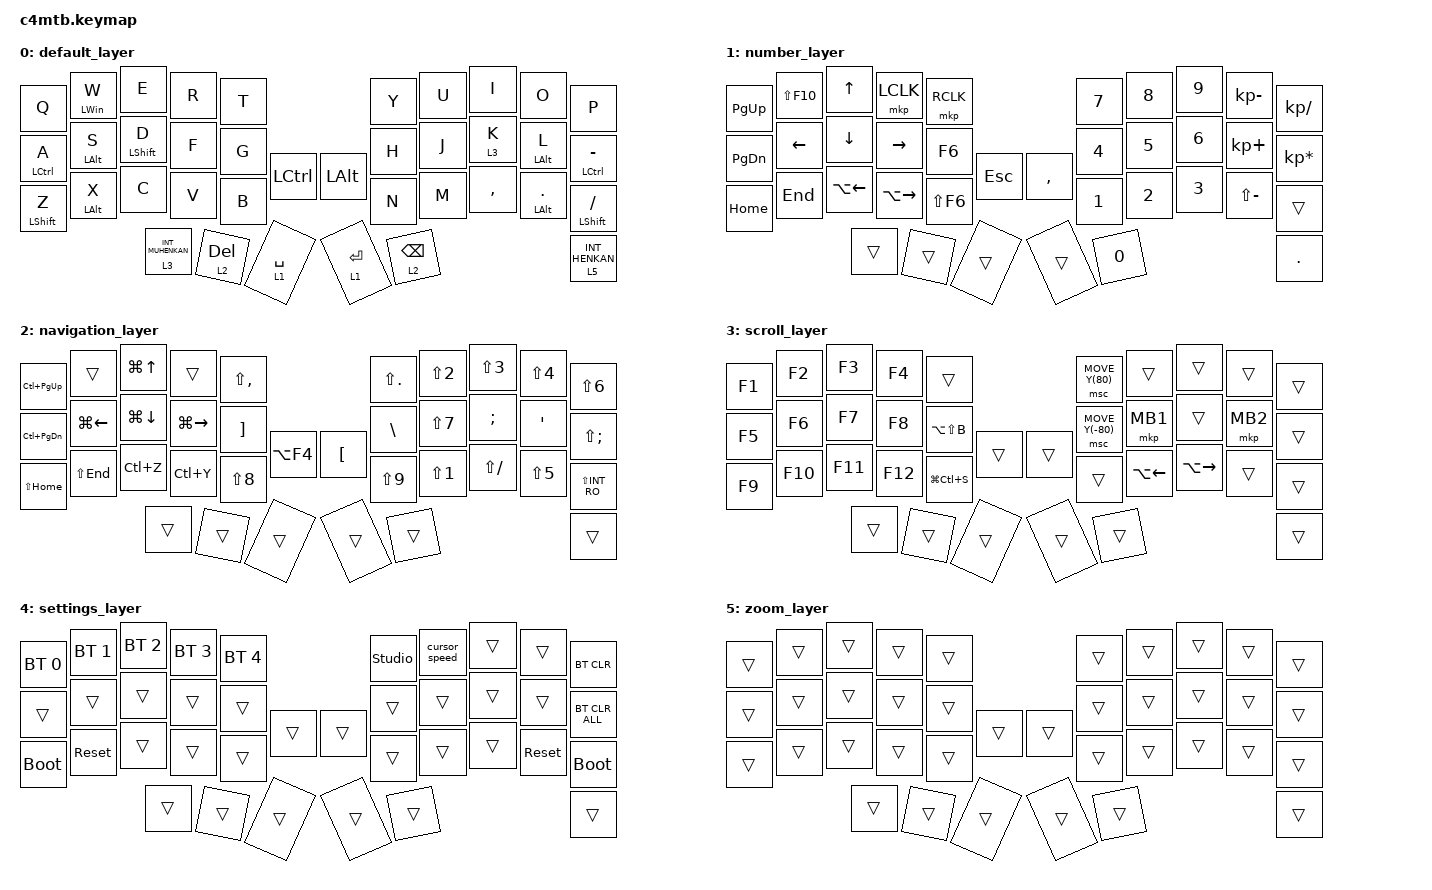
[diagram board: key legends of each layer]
#include <behaviors.dtsi>
#include <dt-bindings/zmk/bt.h>
#include <dt-bindings/zmk/keys.h>
#include <dt-bindings/zmk/pointing.h>

&mt {
    flavor = "tap-preferred";
    quick-tap-ms = <200>;
};

&lt { quick-tap-ms = <200>; };

/ {
    behaviors {
        cursor_speed: cursor_speed {
            compatible = "c4mtb,behavior-cursor-speed";
            display-name = "Cursor Speed";
            #binding-cells = <0>;
        };
    };

    macros {
        /*
         * ボールでズームするためのレイヤー。押している間だけ LCTRL を保持し、
         * 同時にレイヤー5へ入る。レイヤー5では c4mtb_r.overlay の zoomer が
         * ホイールのゲインを1/8へ落とすので、Ctrl+ホイールのズームが
         * 「球を約4mm転がして1段」になる。
         *
         * ZMKにはモディファイア保持とレイヤー保持を1つにする振る舞いがないので
         * マクロで束ねる。macro_pause_for_release があるため、押し下げで
         * &kp LCTRL と &mo 5 の両方が押され、キーを離すと両方が離れる。
         */

        zoom_ball: zoom_ball {
            compatible = "zmk,behavior-macro";
            #binding-cells = <0>;
            wait-ms = <0>;
            tap-ms = <0>;
            bindings =
                <&macro_press>,
                <&kp LCTRL &mo 5>,
                <&macro_pause_for_release>,
                <&macro_release>,
                <&kp LCTRL &mo 5>;
        };
    };

    /*
     * Combos stay in standard ZMK devicetree so Keymap Editor can parse,
     * display, and edit them without depending on DYA runtime-combo state.
     * Recovery controls and click chords therefore remain available even if
     * Studio settings are reset or Studio itself is unavailable.
     */

    combos {
        compatible = "zmk,combos";

        settings_layer {
            timeout-ms = <80>;
            key-positions = <33 34>;
            bindings = <&mo 4>;
        };

        left_click {
            key-positions = <16 17>;
            bindings = <&mkp LCLK>;
            timeout-ms = <90>;
        };

        right_click {
            key-positions = <17 18>;
            bindings = <&mkp RCLK>;
            timeout-ms = <90>;
        };
        tab_shift_combo {
            timeout-ms = <50>;
            key-positions = <13 14>;
            bindings = <&kp LS(TAB)>;
        };
        tab_combo {
            timeout-ms = <50>;
            key-positions = <3 4>;
            bindings = <&kp TAB>;
        };
    };

    keymap {
        compatible = "zmk,keymap";

        default_layer {
            bindings = <
&kp Q             &mt LEFT_WIN W      &kp E         &kp R        &kp T    &kp Y         &kp U        &kp I            &kp O             &kp P
&mt LCTRL A       &mt LEFT_ALT S      &mt LSHIFT D  &kp F        &kp G    &kp H         &kp J        &lt 3 K          &mt LEFT_ALT L    &mt LCTRL MINUS
&mt LEFT_SHIFT Z  &mt LEFT_ALT X      &kp C         &kp V        &kp B    &kp N         &kp M        &kp COMMA        &mt LEFT_ALT DOT  &mt LEFT_SHIFT SLASH
                  &lt 3 INT_MUHENKAN  &lt 2 DEL     &lt 1 SPACE  &kp  LCTRL  &kp LEFT_ALT  &lt 1 ENTER  &lt 2 BACKSPACE                    &lt 5 INT_HENKAN
            >;
        };

        number_layer {
            bindings = <
&kp PAGE_UP    &kp LS(F10)     &kp UP              &mkp LCLK            &mkp RCLK   &kp NUMBER_7  &kp NUMBER_8  &kp NUMBER_9  &kp KP_MINUS   &kp KP_SLASH
&kp PAGE_DOWN  &kp LEFT_ARROW  &kp DOWN_ARROW      &kp RIGHT            &kp F6      &kp NUMBER_4  &kp NUMBER_5  &kp NUMBER_6  &kp KP_PLUS    &kp KP_MULTIPLY
&kp HOME       &kp END         &kp LA(LEFT_ARROW)  &kp LA(RIGHT_ARROW)  &kp LS(F6)  &kp NUMBER_1  &kp NUMBER_2  &kp NUMBER_3  &kp LS(MINUS)  &trans
               &trans          &trans              &trans               &kp ESCAPE  &kp COMMA     &trans        &kp NUMBER_0                 &kp PERIOD
            >;
        };

        navigation_layer {
            bindings = <
&kp LC(PAGE_UP)    &trans              &kp LG(UP)          &trans               &kp LS(COMMA)      &kp LS(PERIOD)    &kp LS(NUMBER_2)  &kp LS(NUMBER_3)  &kp LS(NUMBER_4)  &kp LS(NUMBER_6)
&kp LC(PAGE_DOWN)  &kp LG(LEFT_ARROW)  &kp LG(DOWN_ARROW)  &kp LG(RIGHT_ARROW)  &kp RIGHT_BRACKET  &kp BACKSLASH     &kp LS(NUMBER_7)  &kp SEMICOLON     &kp SQT           &kp LS(SEMICOLON)
&kp LS(HOME)       &kp LS(END)         &kp LC(Z)           &kp LC(Y)            &kp LS(N8)         &kp LS(NUMBER_9)  &kp LS(NUMBER_1)  &kp LS(SLASH)     &kp LS(NUMBER_5)  &kp LS(INT_RO)
                   &trans              &trans              &trans               &kp LA(F4)         &kp LEFT_BRACKET  &trans            &trans                              &trans
            >;
        };

        /*
         * Layer 3. Held via &lt 3 on the left outer thumb / right corner key.
         * The trackball scrolls instead of moving the cursor while this layer
         * is active (see the scroller override in c4mtb_r.overlay).
         *
         * &msc の引数は単位/秒。CONFIG_ZMK_POINTING_SMOOTH_SCROLLING により
         * 1ノッチ = 16単位になったので、以前の MOVE_Y(5)(=5ノッチ/秒)と同じ
         * 速さは MOVE_Y(80) になる。有効化前の値のままだと1/16の速度で
         * 「効かない」ように見える。
         *
         * 左内側の拡張キー(位置33、ベースはTAB)は &zoom_ball。左親指でこの
         * レイヤーを保持したまま左人差し指で押し、右手はボールに置いたまま
         * ズームできる位置を選んだ。位置33は settings_layer コンボ(33+34)の
         * 片側でもあるため、単押しの確定はコンボのtimeout-ms(80ms)ぶん遅れる。
         * 押してから転がすぶんには問題ないが、気になるならコンボを持たない
         * 位置4(ベースはT)へ移す。
         */

        scroll_layer {
            bindings = <
&kp F1  &kp F2   &kp F3   &kp F4   &trans         &msc MOVE_Y(80)   &trans              &trans               &trans    &trans
&kp F5  &kp F6   &kp F7   &kp F8   &kp LA(LS(B))  &msc MOVE_Y(-80)  &mkp MB1            &trans               &mkp MB2  &trans
&kp F9  &kp F10  &kp F11  &kp F12  &kp LG(LC(S))  &trans            &kp LA(LEFT_ARROW)  &kp LA(RIGHT_ARROW)  &trans    &trans
        &trans   &trans   &trans   &trans         &trans            &trans              &trans                         &trans
            >;
        };

        /* Layer 4. Entered by the combo on both inner extension keys. */

        settings_layer {
            bindings = <
&bt BT_SEL 0  &bt BT_SEL 1  &bt BT_SEL 2  &bt BT_SEL 3  &bt BT_SEL 4  &studio_unlock  &cursor_speed  &trans  &trans  &bt BT_CLR
&trans        &trans        &trans        &trans        &trans        &trans          &trans  &trans  &trans      &bt BT_CLR_ALL
&bootloader   &sys_reset    &trans        &trans        &trans        &trans          &trans  &trans  &sys_reset  &bootloader
              &trans        &trans        &trans        &trans        &trans          &trans  &trans              &trans
            >;
        };

        /*
         * Layer 5. Entered only from &zoom_ball on layer 3, which holds LCTRL
         * for as long as the key is down. キー自体に割り当てはなく、
         * c4mtb_r.overlay の zoomer(レイヤー5)がボールのホイールゲインを
         * 落とすためだけに存在する。押している間はレイヤー3も生きているので
         * 全キーを &trans にしてレイヤー3へ落とす。
         */

        zoom_layer {
            bindings = <
&trans  &trans  &trans  &trans  &trans  &trans  &trans  &trans  &trans  &trans
&trans  &trans  &trans  &trans  &trans  &trans  &trans  &trans  &trans  &trans
&trans  &trans  &trans  &trans  &trans  &trans  &trans  &trans  &trans  &trans
        &trans  &trans  &trans  &trans  &trans  &trans  &trans          &trans
            >;
        };
    };
};
